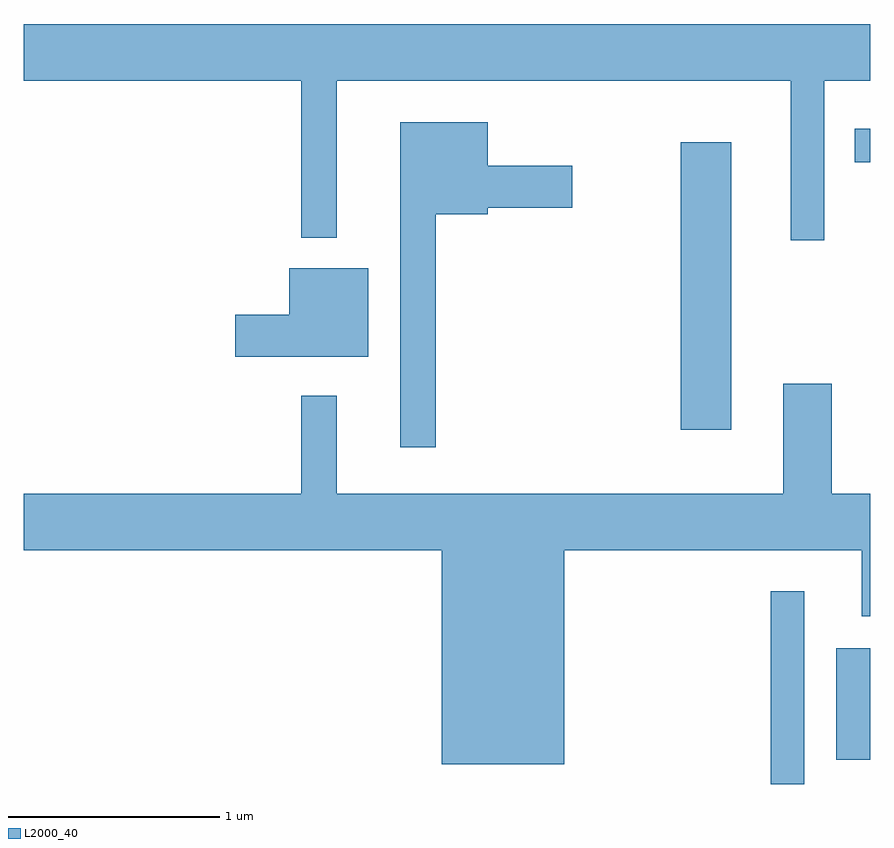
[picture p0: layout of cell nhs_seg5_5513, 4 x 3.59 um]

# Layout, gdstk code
import gdstk
lib = gdstk.Library(unit=1e-6, precision=1e-09)
def R(c, l, rs):  # rectangles x0, y0, x1, y1
    for r in rs: c.add(gdstk.rectangle(r[:2], r[2:], *l))
def P(c, l, *ps):  # polygons
    for p in ps: c.add(gdstk.Polygon(p, *l))
L2000_40 = (2000, 40)

nhs_seg5_5513 = lib.new_cell('nhs_seg5_5513')
R(nhs_seg5_5513, L2000_40, [(351.141,1520.072,351.299,1520.983), (351.451,1520.186,351.611,1520.714), (350.716,1521.746,350.954,1523.104), (351.538,1523.011,351.611,1523.169)])
P(nhs_seg5_5513, L2000_40, [(351.394,1523.396),(351.611,1523.396),(351.611,1523.664),(347.611,1523.664),(347.611,1523.396),(348.921,1523.396),(348.921,1522.653),(349.089,1522.653),(349.089,1523.396),(351.236,1523.396),(351.236,1522.643),(351.394,1522.643)],
  [(349.559,1522.766),(349.804,1522.766),(349.804,1522.796),(350.204,1522.796),(350.204,1522.994),(349.804,1522.994),(349.804,1523.199),(349.391,1523.199),(349.391,1521.663),(349.559,1521.663)],
  [(349.239,1522.509),(348.866,1522.509),(348.866,1522.289),(348.611,1522.289),(348.611,1522.091),(349.239,1522.091)],
  [(350.164,1521.176),(351.571,1521.176),(351.571,1520.866),(351.611,1520.866),(351.611,1521.444),(351.429,1521.444),(351.429,1521.964),(351.201,1521.964),(351.201,1521.444),(349.089,1521.444),(349.089,1521.908),(348.921,1521.908),(348.921,1521.444),(347.611,1521.444),(347.611,1521.176),(349.586,1521.176),(349.586,1520.166),(350.164,1520.166)])

lib.write_gds('nhs_seg5_5513.gds')
